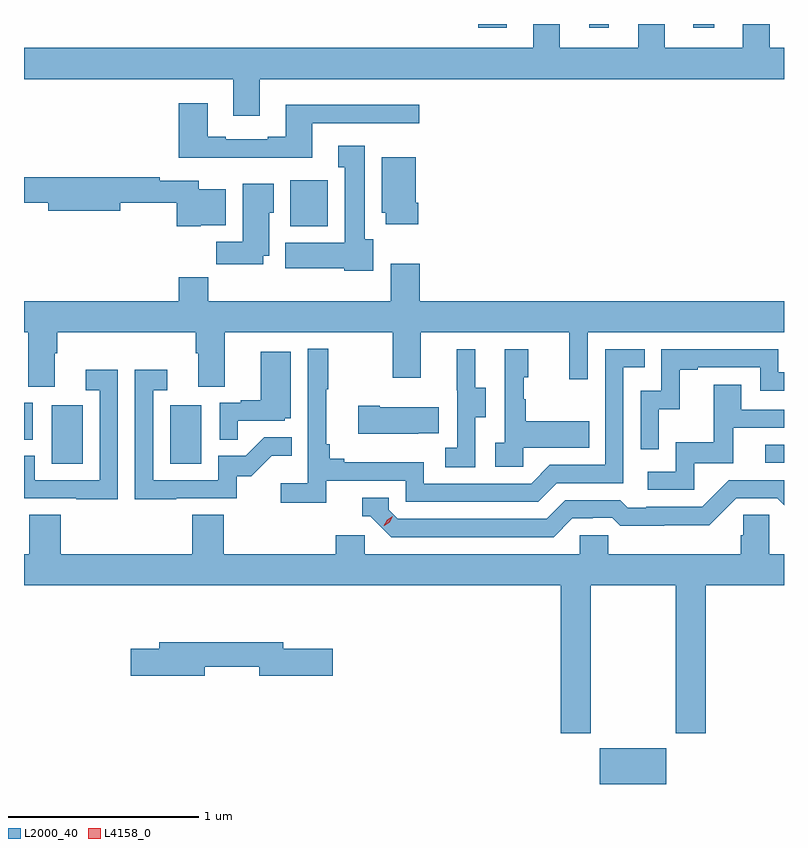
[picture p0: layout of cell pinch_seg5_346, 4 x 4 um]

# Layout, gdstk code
import gdstk
lib = gdstk.Library(unit=1e-6, precision=1e-09)
def R(c, l, rs):  # rectangles x0, y0, x1, y1
    for r in rs: c.add(gdstk.rectangle(r[:2], r[2:], *l))
def P(c, l, *ps):  # polygons
    for p in ps: c.add(gdstk.Polygon(p, *l))
L2000_40 = (2000, 40)
L4158_0 = (4158, 0)

pinch_seg5_346 = lib.new_cell('pinch_seg5_346')
R(pinch_seg5_346, L2000_40, [(972.776,889.014,973.126,889.201), (969.89,890.7,970.054,891.007), (970.514,890.7,970.678,891.007), (973.647,890.706,973.745,890.799), (969.745,890.827,969.792,891.021), (971.147,891.95,971.344,892.192), (972.137,892.995,972.286,893.014), (972.719,892.995,972.823,893.014), (973.268,892.995,973.378,893.014)])
P(pinch_seg5_346, L2000_40, [(970.987,892.724),(973.745,892.724),(973.745,892.888),(973.669,892.888),(973.669,893.014),(973.529,893.014),(973.529,892.888),(973.117,892.888),(973.117,893.014),(972.977,893.014),(972.977,892.888),(972.565,892.888),(972.565,893.014),(972.425,893.014),(972.425,892.888),(969.745,892.888),(969.745,892.724),(970.847,892.724),(970.847,892.53),(970.987,892.53)],
  [(971.263,892.491),(971.824,892.491),(971.824,892.588),(971.123,892.588),(971.123,892.42),(971.027,892.42),(971.027,892.407),(970.807,892.407),(970.807,892.42),(970.711,892.42),(970.711,892.597),(970.559,892.597),(970.559,892.31),(971.263,892.31)],
  [(971.584,891.882),(971.539,891.882),(971.539,892.372),(971.399,892.372),(971.399,892.259),(971.432,892.259),(971.432,891.862),(971.12,891.862),(971.12,891.728),(971.43,891.728),(971.43,891.716),(971.584,891.716)],
  [(971.819,892.072),(971.806,892.072),(971.806,892.312),(971.627,892.312),(971.627,892.02),(971.648,892.02),(971.648,891.96),(971.819,891.96)],
  [(970.674,891.956),(970.807,891.956),(970.807,892.144),(970.666,892.144),(970.666,892.188),(970.46,892.188),(970.46,892.208),(969.745,892.208),(969.745,892.072),(969.872,892.072),(969.872,892.03),(970.252,892.03),(970.252,892.072),(970.549,892.072),(970.549,891.95),(970.674,891.95)],
  [(971.005,891.794),(971.035,891.794),(971.035,892.02),(971.059,892.02),(971.059,892.174),(970.895,892.174),(970.895,891.868),(970.756,891.868),(970.756,891.75),(971.005,891.75)],
  [(969.907,891.28),(969.92,891.28),(969.92,891.392),(970.649,891.392),(970.649,891.28),(970.661,891.28),(970.661,891.106),(970.801,891.106),(970.801,891.392),(971.686,891.392),(971.686,891.153),(971.833,891.153),(971.833,891.392),(972.614,891.392),(972.614,891.144),(972.711,891.144),(972.711,891.392),(973.745,891.392),(973.745,891.556),(971.828,891.556),(971.828,891.751),(971.675,891.751),(971.675,891.556),(970.715,891.556),(970.715,891.68),(970.559,891.68),(970.559,891.556),(969.745,891.556),(969.745,891.392),(969.767,891.392),(969.767,891.106),(969.907,891.106)],
  [(971.336,890.61),(971.754,890.61),(971.754,890.499),(972.451,890.499),(972.55,890.598),(972.9,890.598),(972.9,891.207),(973.013,891.207),(973.013,891.303),(972.804,891.303),(972.804,890.694),(972.513,890.694),(972.414,890.595),(971.85,890.595),(971.85,890.707),(971.431,890.707),(971.431,890.726),(971.354,890.726),(971.354,890.803),(971.335,890.803),(971.335,891.091),(971.347,891.091),(971.347,891.304),(971.238,891.304),(971.238,890.596),(971.097,890.596),(971.097,890.494),(971.336,890.494)],
  [(973.086,890.987),(973.196,890.987),(973.196,891.195),(973.291,891.195),(973.291,891.207),(973.62,891.207),(973.62,891.084),(973.745,891.084),(973.745,891.18),(973.716,891.18),(973.716,891.303),(973.098,891.303),(973.098,891.084),(972.99,891.084),(972.99,890.775),(973.086,890.775)],
  [(972.372,890.783),(972.719,890.783),(972.719,890.923),(972.385,890.923),(972.385,891.038),(972.375,891.038),(972.375,891.156),(972.4,891.156),(972.4,891.301),(972.276,891.301),(972.276,890.81),(972.225,890.81),(972.225,890.685),(972.372,890.685)],
  [(972.12,890.944),(972.175,890.944),(972.175,891.099),(972.121,891.099),(972.121,891.301),(972.023,891.301),(972.023,891.087),(972.024,891.087),(972.024,890.783),(971.961,890.783),(971.961,890.68),(972.12,890.68)],
  [(970.871,890.925),(971.118,890.925),(971.118,890.94),(971.149,890.94),(971.149,891.289),(970.991,891.289),(970.991,891.034),(970.887,891.034),(970.887,891.021),(970.776,891.021),(970.776,890.827),(970.871,890.827)],
  [(970.547,890.517),(970.866,890.517),(970.866,890.634),(970.942,890.634),(971.049,890.741),(971.153,890.741),(971.153,890.84),(971.009,890.84),(970.911,890.742),(970.767,890.742),(970.767,890.613),(970.425,890.613),(970.425,891.087),(970.498,891.087),(970.498,891.193),(970.329,891.193),(970.329,890.512),(970.547,890.512)],
  [(970.239,891.193),(970.071,891.193),(970.071,891.087),(970.143,891.087),(970.143,890.613),(969.801,890.613),(969.801,890.742),(969.745,890.742),(969.745,890.517),(970.021,890.517),(970.021,890.512),(970.239,890.512)],
  [(973.272,890.703),(973.477,890.703),(973.477,890.889),(973.745,890.889),(973.745,890.985),(973.519,890.985),(973.519,891.115),(973.375,891.115),(973.375,890.812),(973.176,890.812),(973.176,890.658),(973.029,890.658),(973.029,890.562),(973.272,890.562)],
  [(971.819,890.861),(971.927,890.861),(971.927,890.998),(971.617,890.998),(971.617,891.006),(971.505,891.006),(971.505,890.858),(971.819,890.858)],
  [(972.631,890.412),(972.738,890.412),(972.738,890.415),(972.841,890.415),(972.883,890.373),(973.116,890.373),(973.116,890.375),(973.352,890.375),(973.494,890.517),(973.71,890.517),(973.745,890.482),(973.745,890.613),(973.455,890.613),(973.314,890.472),(973.021,890.472),(973.021,890.469),(972.922,890.469),(972.883,890.508),(972.594,890.508),(972.495,890.409),(971.712,890.409),(971.664,890.457),(971.664,890.52),(971.525,890.52),(971.525,890.424),(971.568,890.424),(971.679,890.313),(972.532,890.313)],
  [(972.729,890.06),(973.174,890.06),(973.174,889.281),(973.334,889.281),(973.334,890.06),(973.745,890.06),(973.745,890.224),(973.668,890.224),(973.668,890.432),(973.531,890.432),(973.531,890.322),(973.517,890.322),(973.517,890.224),(972.819,890.224),(972.819,890.322),(972.669,890.322),(972.669,890.224),(971.538,890.224),(971.538,890.322),(971.387,890.322),(971.387,890.224),(970.796,890.224),(970.796,890.432),(970.631,890.432),(970.631,890.224),(969.938,890.224),(969.938,890.432),(969.773,890.432),(969.773,890.224),(969.745,890.224),(969.745,890.06),(972.569,890.06),(972.569,889.281),(972.729,889.281)],
  [(970.696,889.63),(970.982,889.63),(970.982,889.583),(971.371,889.583),(971.371,889.725),(971.11,889.725),(971.11,889.759),(970.457,889.759),(970.457,889.725),(970.308,889.725),(970.308,889.583),(970.696,889.583)])
P(pinch_seg5_346, L4158_0, [(971.639,890.372),(971.639,890.372),(971.656,890.405),(971.686,890.424),(971.687,890.424),(971.687,890.424),(971.67,890.392),(971.64,890.372)])

lib.write_gds('pinch_seg5_346.gds')
